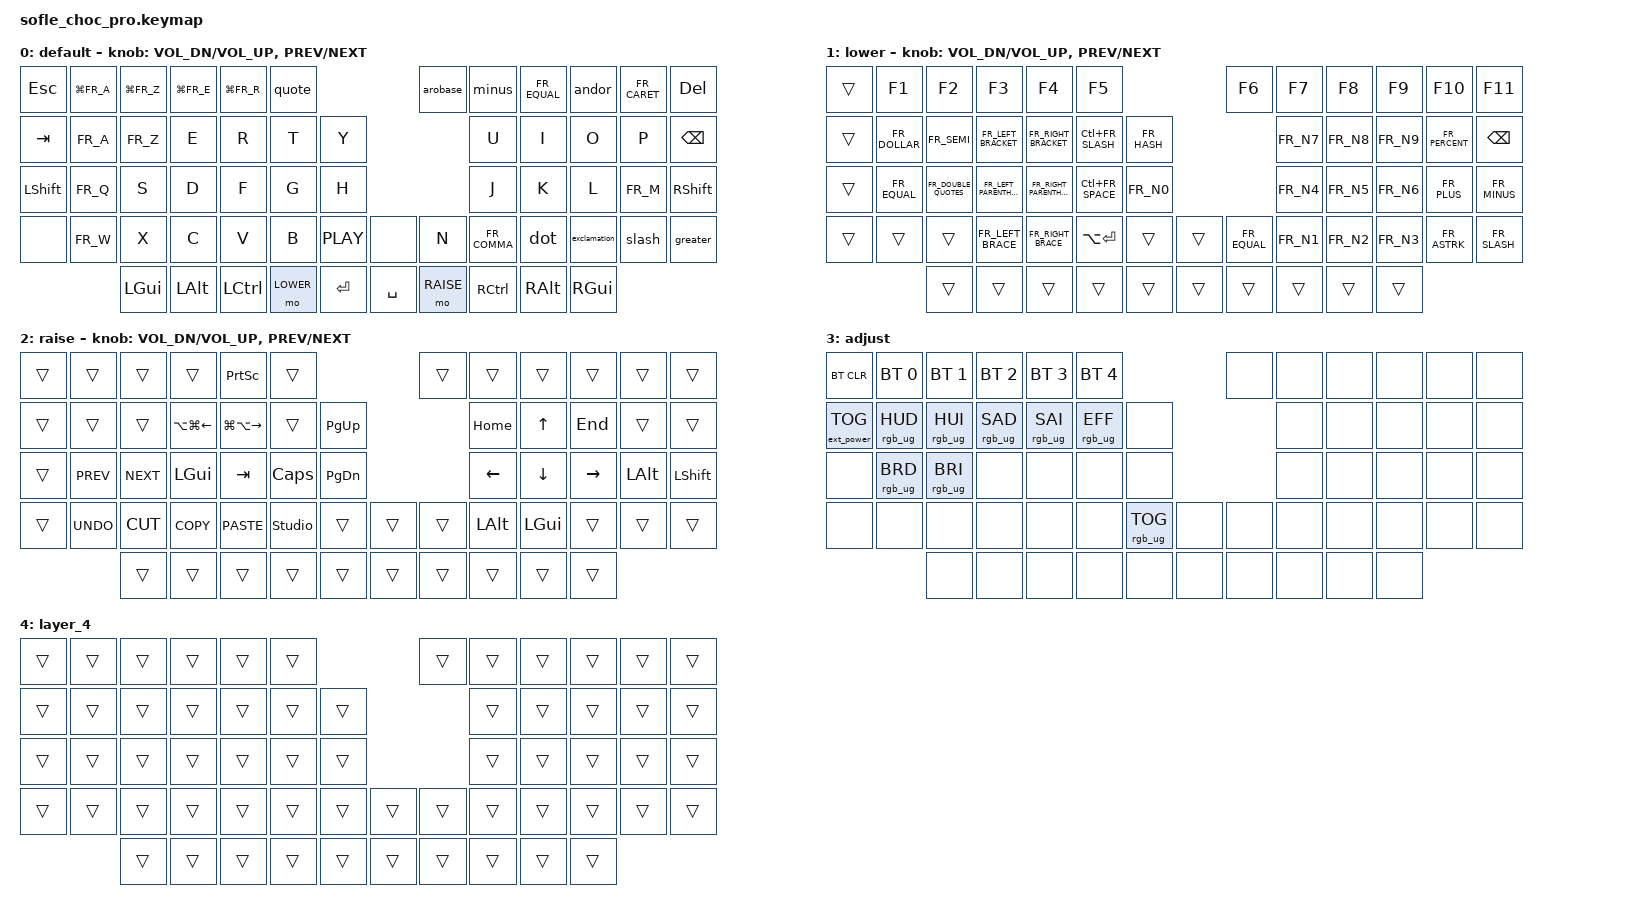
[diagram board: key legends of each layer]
/*
* Copyright (c) 2020 The ZMK Contributors
*
* SPDX-License-Identifier: MIT
*/

#include <behaviors.dtsi>
#include <dt-bindings/zmk/bt.h>
#include <dt-bindings/zmk/ext_power.h>
#include <dt-bindings/zmk/keys.h>
#include <dt-bindings/zmk/rgb.h>
#include "keys_fr.h"

#define BASE 0
#define LOWER 1
#define RAISE 2
#define ADJUST 3

/ {
    // Activate ADJUST layer by pressing raise and lower

    conditional_layers {
        compatible = "zmk,conditional-layers";

        adjust_layer {
            if-layers = <LOWER RAISE>;
            then-layer = <ADJUST>;
        };
    };

    behaviors {
        quote: quote {
            compatible = "zmk,behavior-tap-dance";
            label = "QUOTE";
            #binding-cells = <0>;
            bindings = <&kp FR_SQT>, <&kp FR_DQT>, <&kp FR_GRAVE>;

            tapping-term-ms = <300>;
        };

        exclamation: exclamation {
            compatible = "zmk,behavior-tap-dance";
            label = "EXCLAMATION";
            #binding-cells = <0>;
            bindings = <&kp FR_EXCL>, <&kp FR_QUESTION>;

            tapping-term-ms = <300>;
        };

        dot: dot {
            compatible = "zmk,behavior-tap-dance";
            label = "DOT";
            #binding-cells = <0>;
            bindings = <&kp FR_DOT>, <&kp FR_COLON>;

            tapping-term-ms = <300>;
        };

        slash: slash {
            compatible = "zmk,behavior-tap-dance";
            label = "SLASH";
            #binding-cells = <0>;
            bindings = <&kp FR_SLASH>, <&kp FR_BSLH>;

            tapping-term-ms = <300>;
        };

        arobase: arobase {
            compatible = "zmk,behavior-tap-dance";
            label = "AROBASE";
            #binding-cells = <0>;
            bindings = <&kp FR_AT>, <&kp FR_HASH>, <&kp FR_TILDE>;

            tapping-term-ms = <300>;
        };

        greater: greater {
            compatible = "zmk,behavior-tap-dance";
            label = "GREATER";
            #binding-cells = <0>;
            bindings = <&kp FR_LT>, <&kp FR_GT>;

            tapping-term-ms = <300>;
        };

        minus: minus {
            compatible = "zmk,behavior-tap-dance";
            label = "MINUS";
            #binding-cells = <0>;
            bindings = <&kp FR_MINUS>, <&kp FR_UNDER>;

            tapping-term-ms = <300>;
        };

        parenthesis: parenthesis {
            compatible = "zmk,behavior-tap-dance";
            label = "PARENTHESIS";
            #binding-cells = <0>;
            bindings = <&kp FR_LPAR>, <&kp FR_RPAR>;

            tapping-term-ms = <300>;
        };

        squareBrackets: squareBrackets {
            compatible = "zmk,behavior-tap-dance";
            label = "SQUAREBRACKETS";
            #binding-cells = <0>;
            bindings = <&kp FR_LBKT>, <&kp FR_RBKT>;

            tapping-term-ms = <300>;
        };

        curlyBrackets: curlyBrackets {
            compatible = "zmk,behavior-tap-dance";
            label = "CURLYBRACKETS";
            #binding-cells = <0>;
            bindings = <&kp FR_LBRC>, <&kp FR_RBRC>;

            tapping-term-ms = <300>;
        };

        andor: andor {
            compatible = "zmk,behavior-tap-dance";
            label = "ANDOR";
            #binding-cells = <0>;
            bindings = <&kp FR_AMPS>, <&kp FR_PIPE>;

            tapping-term-ms = <300>;
        };
    };

    macros {
        eacirc: eacirc {
            compatible = "zmk,behavior-macro";
            #binding-cells = <0>;
            bindings = <&kp FR_CARET &kp FR_E>;
            label = "EACIRC";
        };

        ocirc: ocirc {
            compatible = "zmk,behavior-macro";
            #binding-cells = <0>;
            bindings = <&kp FR_CARET &kp FR_O>;
            label = "OCIRC";
        };
    };

    combos {
        compatible = "zmk,combos";

        eacute {
            bindings = <&kp FR_E_ACUTE>;
            key-positions = <14 15>;
        };

        eagrave {
            bindings = <&kp FR_E_GRAVE>;
            key-positions = <15 16>;
        };

        eacirc {
            bindings = <&eacirc>;
            key-positions = <14 16>;
        };

        semicolon {
            bindings = <&kp FR_SEMI>;
            key-positions = <45 46>;
        };

        ccedile {
            bindings = <&kp FR_C_CEDILLA>;
            key-positions = <40 39>;
        };

        uagrave {
            bindings = <&kp FR_U_GRAVE>;
            key-positions = <19 20>;
        };

        aacute {
            bindings = <&kp FR_A_GRAVE>;
            key-positions = <13 14>;
        };

        oacirc {
            bindings = <&ocirc>;
            key-positions = <22 20>;
        };
    };

    keymap {
        compatible = "zmk,keymap";

        default_layer {
            display-name = "default";

            // ------------------------------------------------------------------------------------------------------------
            // |   `   |  1  |  2  |  3   |  4   |  5   |                   |  6   |  7    |  8    |  9   |   0   |   `   |
            // |  ESC  |  Q  |  W  |  E   |  R   |  T   |                   |  Y   |  U    |  I    |  O   |   P   | BKSPC |
            // |  TAB  |  A  |  S  |  D   |  F   |  G   |                   |  H   |  J    |  K    |  L   |   ;   |   '   |
            // | SHIFT |  Z  |  X  |  C   |  V   |  B   |  MUTE  |  | PLAY  |  N   |  M    |  ,    |  .   |   /   | SHIFT |
            //               | GUI | ALT  | CTRL | LOWER|  ENTER |  | SPACE | RAISE| CTRL  | ALT   | GUI  |

            bindings = <
&kp ESC     &kp LG(FR_A)  &kp LG(FR_Z)  &kp LG(FR_E)  &kp LG(FR_R)  &quote                            &arobase   &minus        &kp FR_EQUAL  &andor        &kp FR_CARET  &kp DEL
&kp TAB     &kp FR_A      &kp FR_Z      &kp E         &kp R         &kp T      &kp Y                             &kp U         &kp I         &kp O         &kp P         &kp BSPC
&kp LSHIFT  &kp FR_Q      &kp S         &kp D         &kp F         &kp G      &kp H                             &kp J         &kp K         &kp L         &kp FR_M      &kp RSHIFT
&none       &kp FR_W      &kp X         &kp C         &kp V         &kp B      &kp C_PLAY  &none      &kp N      &kp FR_COMMA  &dot          &exclamation  &slash        &greater
                          &kp LGUI      &kp LALT      &kp LCTRL     &mo LOWER  &kp RET     &kp SPACE  &mo RAISE  &kp RCTRL     &kp RALT      &kp RGUI
            >;

            sensor-bindings = <&inc_dec_kp C_VOL_DN C_VOL_UP &inc_dec_kp C_PREV C_NEXT>;
        };

        lower_layer {
            display-name = "lower";

            // ------------------------------------------------------------------------------------------------------------
            // |       |  F1 |  F2 |  F3  |  F4  |  F5  |                   |  F6  |  F7   |  F8   |  F9  |  F10  |  F11  |
            // |   `   |  1  |  2  |  3   |  4   |  5   |                   |  6   |  7    |  8    |  9   |   0   |  F12  |
            // |       |  !  |  @  |  #   |  $   |  %   |                   |  ^   |  &    |  *    |  (   |   )   |   |   |
            // |       |  =  |  -  |  +   |  {   |  }   |        |  |       |  [   |  ]    |  ;    |  :   |   \   |       |
            //               |     |      |      |      |        |  |       |      |       |       |      |

            bindings = <
&trans  &kp F1         &kp F2                &kp F3                   &kp F4                    &kp F5                                 &kp F6        &kp F7     &kp F8     &kp F9     &kp F10         &kp F11
&trans  &kp FR_DOLLAR  &kp FR_SEMI           &kp FR_LEFT_BRACKET      &kp FR_RIGHT_BRACKET      &kp LC(FR_SLASH)  &kp FR_HASH                        &kp FR_N7  &kp FR_N8  &kp FR_N9  &kp FR_PERCENT  &kp BACKSPACE
&trans  &kp FR_EQUAL   &kp FR_DOUBLE_QUOTES  &kp FR_LEFT_PARENTHESIS  &kp FR_RIGHT_PARENTHESIS  &kp LC(FR_SPACE)  &kp FR_N0                          &kp FR_N4  &kp FR_N5  &kp FR_N6  &kp FR_PLUS     &kp FR_MINUS
&trans  &trans         &trans                &kp FR_LEFT_BRACE        &kp FR_RIGHT_BRACE        &kp LA(ENTER)     &trans       &trans  &kp FR_EQUAL  &kp FR_N1  &kp FR_N2  &kp FR_N3  &kp FR_ASTRK    &kp FR_SLASH
                       &trans                &trans                   &trans                    &trans            &trans       &trans  &trans        &trans     &trans     &trans
            >;

            sensor-bindings = <&inc_dec_kp C_VOL_DN C_VOL_UP &inc_dec_kp C_PREV C_NEXT>;
        };

        raise_layer {
            display-name = "raise";

            // ------------------------------------------------------------------------------------------------------------
            // | BTCLR | BT1  | BT2  |  BT3  |  BT4  |  BT5 |                |      |      |       |      |       |       |
            // |       | INS  | PSCR | GUI   |       |      |                | PGUP |      |   ^   |      |       |       |
            // |       | ALT  | CTRL | SHIFT |       | CAPS |                | PGDN |   <- |   v   |  ->  |  DEL  | BKSPC |
            // |       | UNDO | CUT  | COPY  | PASTE |      |      |  |      |      |      |       |      |       |       |
            //                |      |       |       |      |      |  |      |      |      |       |      |

            bindings = <
&trans  &trans      &trans      &trans            &kp PRINTSCREEN    &trans                             &trans  &trans        &trans        &trans     &trans        &trans
&trans  &trans      &trans      &kp LA(LG(LEFT))  &kp LG(LA(RIGHT))  &trans          &kp PG_UP                  &kp HOME      &kp UP        &kp END    &trans        &trans
&trans  &kp C_PREV  &kp C_NEXT  &kp LEFT_GUI      &kp TAB            &kp CLCK        &kp PG_DN                  &kp LEFT      &kp DOWN      &kp RIGHT  &kp LEFT_ALT  &kp LEFT_SHIFT
&trans  &kp K_UNDO  &kp K_CUT   &kp K_COPY        &kp K_PASTE        &studio_unlock  &trans     &trans  &trans  &kp LEFT_ALT  &kp LEFT_GUI  &trans     &trans        &trans
                    &trans      &trans            &trans             &trans          &trans     &trans  &trans  &trans        &trans        &trans
            >;

            sensor-bindings = <&inc_dec_kp C_VOL_DN C_VOL_UP &inc_dec_kp C_PREV C_NEXT>;
        };

        adjust_layer {
            // ----------------------------------------------------------------------------------------------------------------------------
            // | BTCLR  |  BT1    |  BT2    |   BT3   |   BT4   |   BT5   |                  |      |      |       |      |       |       |
            // | EXTPWR | RGB_HUD | RGB_HUI | RGB_SAD | RGB_SAI | RGB_EFF |                  |      |      |       |      |       |       |
            // |        | RGB_BRD | RGB_BRI |         |         |         |                  |      |      |       |      |       |       |
            // |        |         |         |         |         |         | RGB_TOG | |      |      |      |       |      |       |       |
            //                    |         |         |         |         |         | |      |      |      |       |      |

            display-name = "adjust";
            bindings = <
&bt BT_CLR         &bt BT_SEL 0     &bt BT_SEL 1     &bt BT_SEL 2     &bt BT_SEL 3     &bt BT_SEL 4                             &none  &none  &none  &none  &none  &none
&ext_power EP_TOG  &rgb_ug RGB_HUD  &rgb_ug RGB_HUI  &rgb_ug RGB_SAD  &rgb_ug RGB_SAI  &rgb_ug RGB_EFF  &none                          &none  &none  &none  &none  &none
&none              &rgb_ug RGB_BRD  &rgb_ug RGB_BRI  &none            &none            &none            &none                          &none  &none  &none  &none  &none
&none              &none            &none            &none            &none            &none            &rgb_ug RGB_TOG  &none  &none  &none  &none  &none  &none  &none
                                    &none            &none            &none            &none            &none            &none  &none  &none  &none  &none
            >;
        };

        layer_4 {
            bindings = <
&trans  &trans  &trans  &trans  &trans  &trans                  &trans  &trans  &trans  &trans  &trans  &trans
&trans  &trans  &trans  &trans  &trans  &trans  &trans                  &trans  &trans  &trans  &trans  &trans
&trans  &trans  &trans  &trans  &trans  &trans  &trans                  &trans  &trans  &trans  &trans  &trans
&trans  &trans  &trans  &trans  &trans  &trans  &trans  &trans  &trans  &trans  &trans  &trans  &trans  &trans
                &trans  &trans  &trans  &trans  &trans  &trans  &trans  &trans  &trans  &trans
            >;
        };
    };
};
